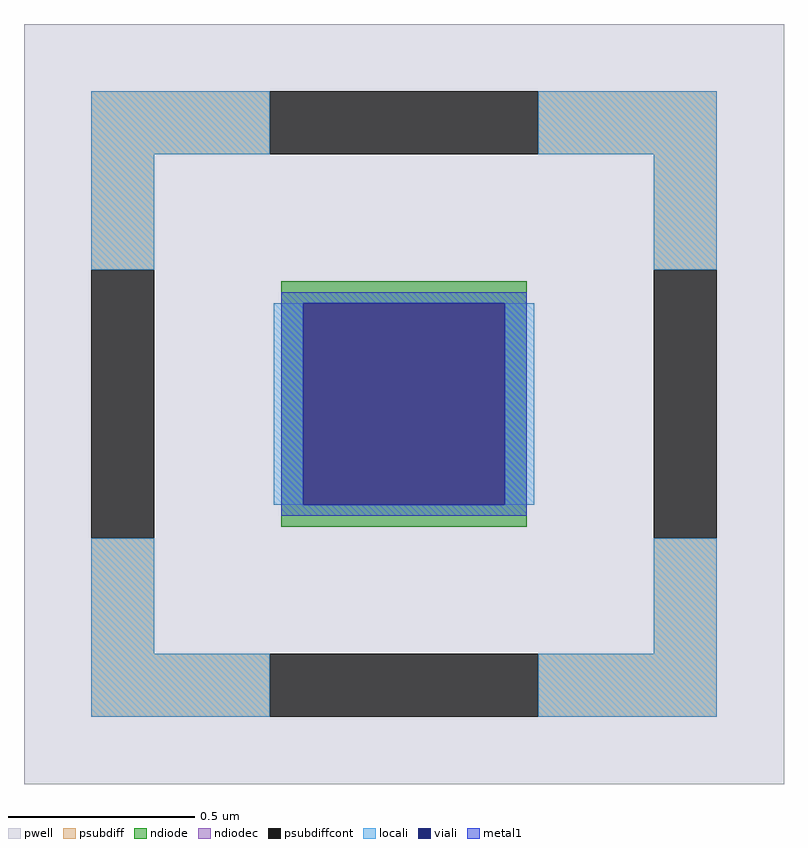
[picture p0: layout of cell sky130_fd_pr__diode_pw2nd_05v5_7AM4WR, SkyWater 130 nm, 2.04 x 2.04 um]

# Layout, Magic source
magic
tech sky130A
<< pwell >>
rect -102 -102 102 102
<< psubdiff >>
rect -84 67 -36 84
rect 36 67 84 84
rect -84 36 -67 67
rect 67 36 84 67
rect -84 -67 -67 -36
rect 67 -67 84 -36
rect -84 -84 -36 -67
rect 36 -84 84 -67
<< psubdiffcont >>
rect -36 67 36 84
rect -84 -36 -67 36
rect 67 -36 84 36
rect -36 -84 36 -67
<< ndiode >>
rect -33 27 33 33
rect -33 -27 -27 27
rect 27 -27 33 27
rect -33 -33 33 -27
<< ndiodec >>
rect -27 -27 27 27
<< locali >>
rect -84 67 -36 84
rect 36 67 84 84
rect -84 36 -67 67
rect 67 36 84 67
rect -35 -27 -27 27
rect 27 -27 35 27
rect -84 -67 -67 -36
rect 67 -67 84 -36
rect -84 -84 -36 -67
rect 36 -84 84 -67
<< viali >>
rect -27 -27 27 27
<< metal1 >>
rect -33 27 33 30
rect -33 -27 -27 27
rect 27 -27 33 27
rect -33 -30 33 -27
<< properties >>
string FIXED_BBOX -75 -75 75 75
string gencell sky130_fd_pr__diode_pw2nd_05v5
string library sky130
string parameters w .66 l 0.66 area 435.6m peri 2.64 nx 1 ny 1 dummy 0 lmin 0.45 wmin 0.45 elc 1 erc 1 etc 1 ebc 1 doverlap 0 compatible {sky130_fd_pr__diode_pw2nd_05v5 sky130_fd_pr__diode_pw2nd_05v5_lvt  sky130_fd_pr__diode_pw2nd_05v5_nvt sky130_fd_pr__diode_pw2nd_11v0} full_metal 1 vias 1 viagb 0 viagt 0 viagl 0 viagr 0
<< end >>
